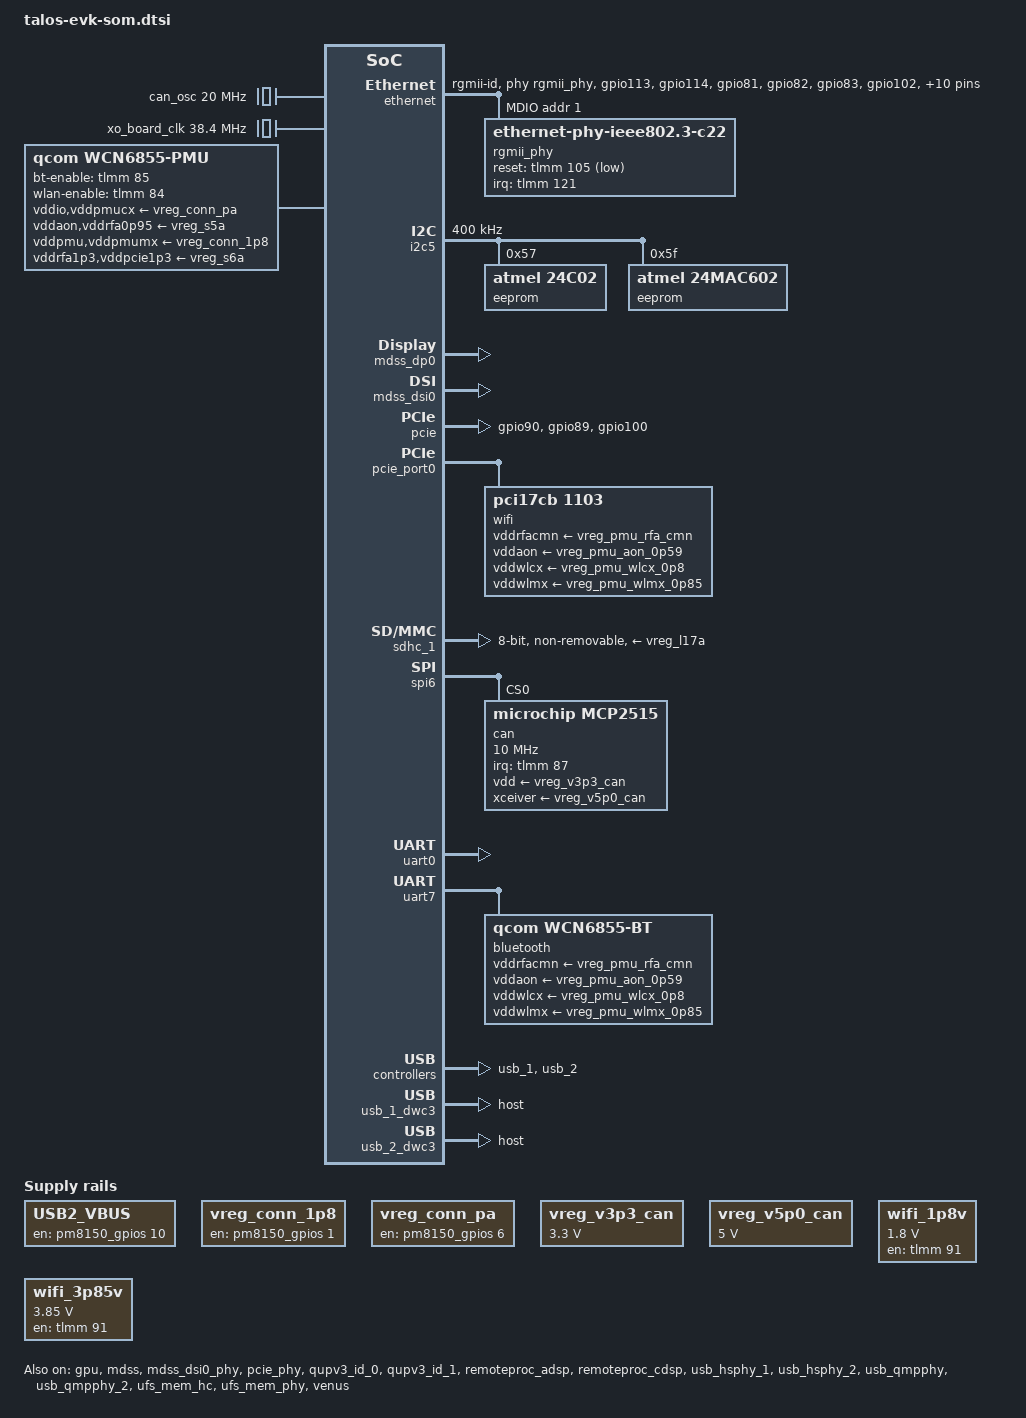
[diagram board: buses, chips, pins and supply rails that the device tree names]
// SPDX-License-Identifier: BSD-3-Clause
/*
 * Copyright (c) Qualcomm Technologies, Inc. and/or its subsidiaries.
 */
/dts-v1/;

#include <dt-bindings/gpio/gpio.h>
#include <dt-bindings/regulator/qcom,rpmh-regulator.h>
#include "talos.dtsi"
#include "pm8150.dtsi"
/ {
	aliases {
		mmc0 = &sdhc_1;
		serial0 = &uart0;
		serial1 = &uart7;
	};

	chosen {
		stdout-path = "serial0:115200n8";
	};

	clocks {
		can_osc: can-oscillator {
			compatible = "fixed-clock";
			clock-frequency = <20000000>;
			#clock-cells = <0>;
		};

		sleep_clk: sleep-clk {
			compatible = "fixed-clock";
			clock-frequency = <32764>;
			#clock-cells = <0>;
		};

		xo_board_clk: xo-board-clk {
			compatible = "fixed-clock";
			clock-frequency = <38400000>;
			#clock-cells = <0>;
		};
	};

	regulator-usb2-vbus {
		compatible = "regulator-fixed";
		regulator-name = "USB2_VBUS";
		gpio = <&pm8150_gpios 10 GPIO_ACTIVE_HIGH>;
		pinctrl-0 = <&usb2_en>;
		pinctrl-names = "default";
		enable-active-high;
		regulator-always-on;
	};

	vreg_conn_1p8: regulator-conn-1p8 {
		compatible = "regulator-fixed";
		regulator-name = "vreg_conn_1p8";
		startup-delay-us = <4000>;
		enable-active-high;
		gpio = <&pm8150_gpios 1 GPIO_ACTIVE_HIGH>;
	};

	vreg_conn_pa: regulator-conn-pa {
		compatible = "regulator-fixed";
		regulator-name = "vreg_conn_pa";
		startup-delay-us = <4000>;
		enable-active-high;
		gpio = <&pm8150_gpios 6 GPIO_ACTIVE_HIGH>;
	};

	vreg_v3p3_can: regulator-v3p3-can {
		compatible = "regulator-fixed";
		regulator-name = "vreg-v3p3-can";
		regulator-min-microvolt = <3300000>;
		regulator-max-microvolt = <3300000>;
		regulator-boot-on;
		regulator-always-on;
	};

	vreg_v5p0_can: regulator-v5p0-can {
		compatible = "regulator-fixed";
		regulator-name = "vreg-v5p0-can";
		regulator-min-microvolt = <5000000>;
		regulator-max-microvolt = <5000000>;
		regulator-boot-on;
		regulator-always-on;
	};

	wcn6855-pmu {
		compatible = "qcom,wcn6855-pmu";

		pinctrl-0 = <&bt_en_state>, <&wlan_en_state>;
		pinctrl-names = "default";

		bt-enable-gpios = <&tlmm 85 GPIO_ACTIVE_HIGH>;
		wlan-enable-gpios = <&tlmm 84 GPIO_ACTIVE_HIGH>;

		vddio-supply = <&vreg_conn_pa>;
		vddaon-supply = <&vreg_s5a>;
		vddpmu-supply = <&vreg_conn_1p8>;
		vddpmumx-supply = <&vreg_conn_1p8>;
		vddpmucx-supply = <&vreg_conn_pa>;
		vddrfa0p95-supply = <&vreg_s5a>;
		vddrfa1p3-supply = <&vreg_s6a>;
		vddrfa1p9-supply = <&vreg_l15a>;
		vddpcie1p3-supply = <&vreg_s6a>;
		vddpcie1p9-supply = <&vreg_l15a>;

		regulators {
			vreg_pmu_rfa_cmn: ldo0 {
				regulator-name = "vreg_pmu_rfa_cmn";
			};

			vreg_pmu_aon_0p59: ldo1 {
				regulator-name = "vreg_pmu_aon_0p59";
			};

			vreg_pmu_wlcx_0p8: ldo2 {
				regulator-name = "vreg_pmu_wlcx_0p8";
			};

			vreg_pmu_wlmx_0p85: ldo3 {
				regulator-name = "vreg_pmu_wlmx_0p85";
			};

			vreg_pmu_btcmx_0p85: ldo4 {
				regulator-name = "vreg_pmu_btcmx_0p85";
			};

			vreg_pmu_rfa_0p8: ldo5 {
				regulator-name = "vreg_pmu_rfa_0p8";
			};

			vreg_pmu_rfa_1p2: ldo6 {
				regulator-name = "vreg_pmu_rfa_1p2";
			};

			vreg_pmu_rfa_1p7: ldo7 {
				regulator-name = "vreg_pmu_rfa_1p7";
			};

			vreg_pmu_pcie_0p9: ldo8 {
				regulator-name = "vreg_pmu_pcie_0p9";
			};

			vreg_pmu_pcie_1p8: ldo9 {
				regulator-name = "vreg_pmu_pcie_1p8";
			};
		};
	};

	wifi_1p8v: regulator-wifi-1p8v {
		compatible = "regulator-fixed";
		regulator-name = "wifi_1p8v";
		regulator-min-microvolt = <1800000>;
		regulator-max-microvolt = <1800000>;
		gpio = <&tlmm 91 GPIO_ACTIVE_HIGH>;
		enable-active-high;
		pinctrl-0 = <&wifi_reg_en_pins_state>;
		pinctrl-names = "default";
		regulator-boot-on;
		regulator-always-on;
	};

	wifi_3p85v: regulator-wifi-3p85v {
		compatible = "regulator-fixed";
		regulator-name = "wifi_3p85v";
		regulator-min-microvolt = <3850000>;
		regulator-max-microvolt = <3850000>;
		gpio = <&tlmm 91 GPIO_ACTIVE_HIGH>;
		enable-active-high;
		pinctrl-0 = <&wifi_reg_en_pins_state>;
		pinctrl-names = "default";
		regulator-boot-on;
		regulator-always-on;
	};
};

&apps_rsc {
	regulators-0 {
		compatible = "qcom,pm8150-rpmh-regulators";
		qcom,pmic-id = "a";

		vreg_s3a: smps3 {
			regulator-name = "vreg_s3a";
			regulator-min-microvolt = <600000>;
			regulator-max-microvolt = <650000>;
			regulator-initial-mode = <RPMH_REGULATOR_MODE_HPM>;
		};

		vreg_s4a: smps4 {
			regulator-name = "vreg_s4a";
			regulator-min-microvolt = <1800000>;
			regulator-max-microvolt = <1829000>;
			regulator-initial-mode = <RPMH_REGULATOR_MODE_HPM>;
		};

		vreg_s5a: smps5 {
			regulator-name = "vreg_s5a";
			regulator-min-microvolt = <1896000>;
			regulator-max-microvolt = <2040000>;
			regulator-initial-mode = <RPMH_REGULATOR_MODE_HPM>;
		};

		vreg_s6a: smps6 {
			regulator-name = "vreg_s6a";
			regulator-min-microvolt = <1304000>;
			regulator-max-microvolt = <1404000>;
			regulator-initial-mode = <RPMH_REGULATOR_MODE_HPM>;
		};

		vreg_l1a: ldo1 {
			regulator-name = "vreg_l1a";
			regulator-min-microvolt = <488000>;
			regulator-max-microvolt = <852000>;
			regulator-initial-mode = <RPMH_REGULATOR_MODE_LPM>;
			regulator-allow-set-load;
			regulator-allowed-modes = <RPMH_REGULATOR_MODE_LPM
						   RPMH_REGULATOR_MODE_HPM>;
		};

		vreg_l2a: ldo2 {
			regulator-name = "vreg_l2a";
			regulator-min-microvolt = <1650000>;
			regulator-max-microvolt = <3100000>;
			regulator-initial-mode = <RPMH_REGULATOR_MODE_LPM>;
			regulator-allow-set-load;
			regulator-allowed-modes = <RPMH_REGULATOR_MODE_LPM
						   RPMH_REGULATOR_MODE_HPM>;
		};

		vreg_l3a: ldo3 {
			regulator-name = "vreg_l3a";
			regulator-min-microvolt = <1000000>;
			regulator-max-microvolt = <1248000>;
			regulator-initial-mode = <RPMH_REGULATOR_MODE_LPM>;
			regulator-allow-set-load;
			regulator-allowed-modes = <RPMH_REGULATOR_MODE_LPM
						   RPMH_REGULATOR_MODE_HPM>;
		};

		vreg_l5a: ldo5 {
			regulator-name = "vreg_l5a";
			regulator-min-microvolt = <875000>;
			regulator-max-microvolt = <975000>;
			regulator-initial-mode = <RPMH_REGULATOR_MODE_HPM>;
			regulator-allow-set-load;
			regulator-allowed-modes = <RPMH_REGULATOR_MODE_LPM
						   RPMH_REGULATOR_MODE_HPM>;
		};

		vreg_l7a: ldo7 {
			regulator-name = "vreg_l7a";
			regulator-min-microvolt = <1800000>;
			regulator-max-microvolt = <1900000>;
			regulator-initial-mode = <RPMH_REGULATOR_MODE_HPM>;
			regulator-allow-set-load;
			regulator-allowed-modes = <RPMH_REGULATOR_MODE_LPM
						   RPMH_REGULATOR_MODE_HPM>;
		};

		vreg_l8a: ldo8 {
			regulator-name = "vreg_l8a";
			regulator-min-microvolt = <1150000>;
			regulator-max-microvolt = <1350000>;
			regulator-initial-mode = <RPMH_REGULATOR_MODE_HPM>;
			regulator-allow-set-load;
			regulator-allowed-modes = <RPMH_REGULATOR_MODE_LPM
						   RPMH_REGULATOR_MODE_HPM>;
		};

		vreg_l10a: ldo10 {
			regulator-name = "vreg_l10a";
			regulator-min-microvolt = <2950000>;
			regulator-max-microvolt = <3312000>;
			regulator-initial-mode = <RPMH_REGULATOR_MODE_HPM>;
			regulator-allow-set-load;
			regulator-allowed-modes = <RPMH_REGULATOR_MODE_LPM
						   RPMH_REGULATOR_MODE_HPM>;
		};

		vreg_l11a: ldo11 {
			regulator-name = "vreg_l11a";
			regulator-min-microvolt = <1232000>;
			regulator-max-microvolt = <1260000>;
			regulator-initial-mode = <RPMH_REGULATOR_MODE_LPM>;
			regulator-allow-set-load;
			regulator-allowed-modes = <RPMH_REGULATOR_MODE_LPM
						   RPMH_REGULATOR_MODE_HPM>;
		};

		vreg_l12a: ldo12 {
			regulator-name = "vreg_l12a";
			regulator-min-microvolt = <1800000>;
			regulator-max-microvolt = <1890000>;
			regulator-initial-mode = <RPMH_REGULATOR_MODE_HPM>;
		};

		vreg_l13a: ldo13 {
			regulator-name = "vreg_l13a";
			regulator-min-microvolt = <3000000>;
			regulator-max-microvolt = <3230000>;
			regulator-initial-mode = <RPMH_REGULATOR_MODE_LPM>;
			regulator-allow-set-load;
			regulator-allowed-modes = <RPMH_REGULATOR_MODE_LPM
						   RPMH_REGULATOR_MODE_HPM>;
		};

		vreg_l15a: ldo15 {
			regulator-name = "vreg_l15a";
			regulator-min-microvolt = <1800000>;
			regulator-max-microvolt = <1904000>;
			regulator-initial-mode = <RPMH_REGULATOR_MODE_LPM>;
			regulator-allow-set-load;
			regulator-allowed-modes = <RPMH_REGULATOR_MODE_LPM
						   RPMH_REGULATOR_MODE_HPM>;
		};

		vreg_l16a: ldo16 {
			regulator-name = "vreg_l16a";
			regulator-min-microvolt = <3000000>;
			regulator-max-microvolt = <3312000>;
			regulator-initial-mode = <RPMH_REGULATOR_MODE_LPM>;
			regulator-allow-set-load;
			regulator-allowed-modes = <RPMH_REGULATOR_MODE_LPM
						   RPMH_REGULATOR_MODE_HPM>;
		};

		vreg_l17a: ldo17 {
			regulator-name = "vreg_l17a";
			regulator-min-microvolt = <2950000>;
			regulator-max-microvolt = <3312000>;
			regulator-initial-mode = <RPMH_REGULATOR_MODE_HPM>;
		};
	};
};

&gpi_dma0 {
	status = "okay";
};

&gpi_dma1 {
	status = "okay";
};

&ethernet {
	pinctrl-0 = <&ethernet_defaults>;
	pinctrl-names = "default";

	phy-handle = <&rgmii_phy>;
	phy-mode = "rgmii-id";

	snps,mtl-rx-config = <&mtl_rx_setup>;
	snps,mtl-tx-config = <&mtl_tx_setup>;

	status = "okay";

	mdio: mdio {
		compatible = "snps,dwmac-mdio";
		#address-cells = <1>;
		#size-cells = <0>;

		rgmii_phy: phy@1 {
			compatible = "ethernet-phy-ieee802.3-c22";
			reg = <0x1>;

			interrupts-extended = <&tlmm 121 IRQ_TYPE_EDGE_FALLING>;
			device_type = "ethernet-phy";
			reset-gpios = <&tlmm 105 GPIO_ACTIVE_LOW>;
			reset-assert-us = <11000>;
			reset-deassert-us = <70000>;
		};
	};

	mtl_rx_setup: rx-queues-config {
		snps,rx-queues-to-use = <1>;
		snps,rx-sched-sp;

		queue0 {
			snps,dcb-algorithm;
			snps,map-to-dma-channel = <0x0>;
			snps,route-up;
			snps,priority = <0x1>;
		};
	};

	mtl_tx_setup: tx-queues-config {
		snps,tx-queues-to-use = <1>;
		snps,tx-sched-wrr;

		queue0 {
			snps,weight = <0x10>;
			snps,dcb-algorithm;
			snps,priority = <0x0>;
		};
	};
};

&gpu {
	status = "okay";
};

&gpu_zap_shader {
	firmware-name = "qcom/qcs615/a612_zap.mbn";
};

&i2c5 {
	clock-frequency = <400000>;
	status = "okay";

	eeprom@57 {
		compatible = "atmel,24c02";
		reg = <0x57>;
		pagesize = <16>;
	};

	eeprom@5f {
		compatible = "atmel,24mac602";
		reg = <0x5f>;
		pagesize = <16>;
	};
};

&mdss {
	status = "okay";
};

&mdss_dp0 {
	status = "okay";
};

&mdss_dp0_out {
	link-frequencies = /bits/ 64 <1620000000 2700000000 5400000000>;
	remote-endpoint = <&dp0_connector_in>;
};

&mdss_dsi0 {
	vdda-supply = <&vreg_l11a>;
	status = "okay";
};

&mdss_dsi0_phy {
	vcca-supply = <&vreg_l5a>;
	status = "okay";
};

&pcie {
	perst-gpios = <&tlmm 89 GPIO_ACTIVE_LOW>;
	wake-gpios = <&tlmm 100 GPIO_ACTIVE_HIGH>;

	pinctrl-0 = <&pcie_default_state>;
	pinctrl-names = "default";

	status = "okay";
};

&pcie_phy {
	vdda-phy-supply = <&vreg_l5a>;
	vdda-pll-supply = <&vreg_l12a>;

	status = "okay";
};

&pcie_port0 {
	wifi@0 {
		compatible = "pci17cb,1103";
		reg = <0x10000 0x0 0x0 0x0 0x0>;

		qcom,calibration-variant = "QC_QCS615_Ride";

		vddrfacmn-supply = <&vreg_pmu_rfa_cmn>;
		vddaon-supply = <&vreg_pmu_aon_0p59>;
		vddwlcx-supply = <&vreg_pmu_wlcx_0p8>;
		vddwlmx-supply = <&vreg_pmu_wlmx_0p85>;
		vddrfa0p8-supply = <&vreg_pmu_rfa_0p8>;
		vddrfa1p2-supply = <&vreg_pmu_rfa_1p2>;
		vddrfa1p8-supply = <&vreg_pmu_rfa_1p7>;
		vddpcie0p9-supply = <&vreg_pmu_pcie_0p9>;
		vddpcie1p8-supply = <&vreg_pmu_pcie_1p8>;
	};
};

&pm8150_gpios {
	usb2_en: usb2-en-state {
		pins = "gpio10";
		function = "normal";
		output-enable;
		power-source = <0>;
	};
};

&qupv3_id_0 {
	status = "okay";
};

&qupv3_id_1 {
	status = "okay";
};

&remoteproc_adsp {
	firmware-name = "qcom/qcs615/adsp.mbn";

	status = "okay";
};

&remoteproc_cdsp {
	firmware-name = "qcom/qcs615/cdsp.mbn";

	status = "okay";
};

&sdhc_1 {
	pinctrl-0 = <&sdc1_state_on>;
	pinctrl-1 = <&sdc1_state_off>;
	pinctrl-names = "default", "sleep";

	bus-width = <8>;
	mmc-ddr-1_8v;
	mmc-hs200-1_8v;
	mmc-hs400-1_8v;
	mmc-hs400-enhanced-strobe;
	vmmc-supply = <&vreg_l17a>;
	vqmmc-supply = <&vreg_s4a>;

	non-removable;
	no-sd;
	no-sdio;

	status = "okay";
};

&spi6 {
	status = "okay";

	can@0 {
		compatible = "microchip,mcp2515";
		reg = <0>;
		clocks = <&can_osc>;
		interrupts-extended = <&tlmm 87 IRQ_TYPE_LEVEL_LOW>;
		spi-max-frequency = <10000000>;
		vdd-supply = <&vreg_v3p3_can>;
		xceiver-supply = <&vreg_v5p0_can>;
	};
};

&tlmm {
	bt_en_state: bt-en-state {
		pins = "gpio85";
		function = "gpio";
		bias-pull-down;
	};

	ethernet_defaults: ethernet-defaults-state {
		mdc-pins {
			pins = "gpio113";
			function = "rgmii";
			bias-pull-up;
		};

		mdio-pins {
			pins = "gpio114";
			function = "rgmii";
			bias-pull-up;
		};

		rgmii-rx-pins {
			pins = "gpio81", "gpio82", "gpio83", "gpio102", "gpio103", "gpio112";
			function = "rgmii";
			bias-disable;
			drive-strength = <2>;
		};

		rgmii-tx-pins {
			pins = "gpio92", "gpio93", "gpio94", "gpio95", "gpio96", "gpio97";
			function = "rgmii";
			bias-pull-up;
			drive-strength = <16>;
		};

		phy-intr-pins {
			pins = "gpio121";
			function = "gpio";
			bias-disable;
			drive-strength = <8>;
		};

		phy-reset-pins {
			pins = "gpio105";
			function = "gpio";
			bias-pull-up;
			drive-strength = <16>;
		};
	};

	pcie_default_state: pcie-default-state {
		clkreq-pins {
			pins = "gpio90";
			function = "pcie_clk_req";
			drive-strength = <2>;
			bias-pull-up;
		};

		perst-pins {
			pins = "gpio89";
			function = "gpio";
			drive-strength = <2>;
			bias-disable;
		};

		wake-pins {
			pins = "gpio100";
			function = "gpio";
			drive-strength = <2>;
			bias-pull-up;
		};
	};

	wifi_reg_en_pins_state: wifi-reg-en-pins-state {
		pins = "gpio91";
		function = "gpio";
		drive-strength = <8>;
		output-high;
		bias-pull-up;
	};

	wlan_en_state: wlan-en-state {
		pins = "gpio84";
		function = "gpio";
		drive-strength = <16>;
		bias-pull-down;
		output-low;
	};
};

&uart0 {
	status = "okay";
};

&uart7 {
	status = "okay";

	bluetooth {
		compatible = "qcom,wcn6855-bt";
		firmware-name = "QCA6698/hpnv21", "QCA6698/hpbtfw21.tlv";

		vddrfacmn-supply = <&vreg_pmu_rfa_cmn>;
		vddaon-supply = <&vreg_pmu_aon_0p59>;
		vddwlcx-supply = <&vreg_pmu_wlcx_0p8>;
		vddwlmx-supply = <&vreg_pmu_wlmx_0p85>;
		vddbtcmx-supply = <&vreg_pmu_btcmx_0p85>;
		vddrfa0p8-supply = <&vreg_pmu_rfa_0p8>;
		vddrfa1p2-supply = <&vreg_pmu_rfa_1p2>;
		vddrfa1p8-supply = <&vreg_pmu_rfa_1p7>;
	};
};

&usb_1 {
	status = "okay";
};

&usb_1_dwc3 {
	dr_mode = "host";
};

&usb_hsphy_1 {
	vdd-supply = <&vreg_l5a>;
	vdda-pll-supply = <&vreg_l12a>;
	vdda-phy-dpdm-supply = <&vreg_l13a>;

	status = "okay";
};

&usb_2 {
	status = "okay";
};

&usb_2_dwc3 {
	dr_mode = "host";
};

&usb_hsphy_2 {
	vdd-supply = <&vreg_l5a>;
	vdda-pll-supply = <&vreg_l12a>;
	vdda-phy-dpdm-supply = <&vreg_l13a>;

	status = "okay";
};

&usb_qmpphy {
	vdda-phy-supply = <&vreg_l5a>;
	vdda-pll-supply = <&vreg_l12a>;

	status = "okay";
};

&usb_qmpphy_2 {
	vdda-phy-supply = <&vreg_l11a>;
	vdda-pll-supply = <&vreg_l5a>;

	status = "okay";
};

&ufs_mem_hc {
	reset-gpios = <&tlmm 123 GPIO_ACTIVE_LOW>;
	vcc-supply = <&vreg_l17a>;
	vcc-max-microamp = <600000>;
	vccq2-supply = <&vreg_s4a>;
	vccq2-max-microamp = <600000>;

	status = "okay";
};

&ufs_mem_phy {
	vdda-phy-supply = <&vreg_l5a>;
	vdda-pll-supply = <&vreg_l12a>;

	status = "okay";
};

&venus {
	status = "okay";
};
